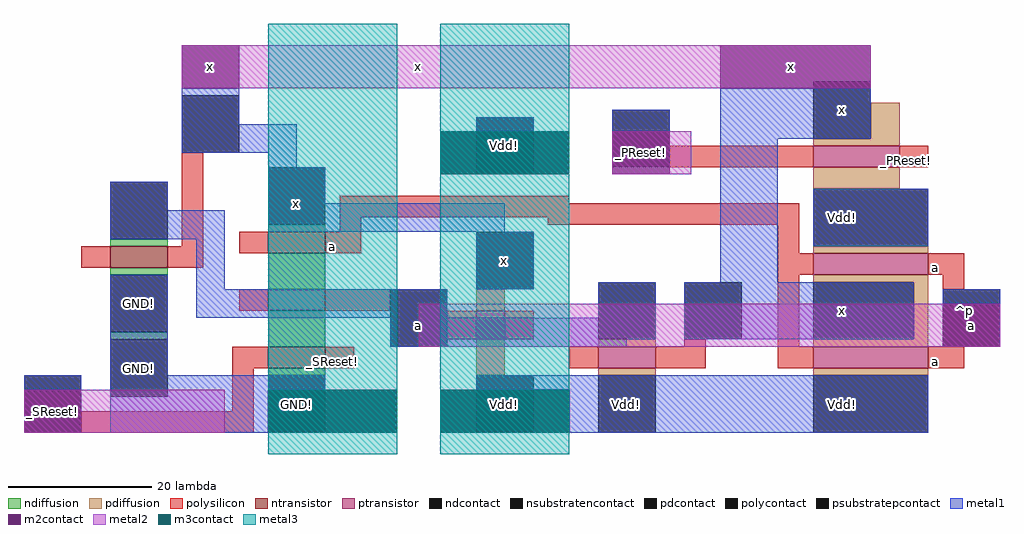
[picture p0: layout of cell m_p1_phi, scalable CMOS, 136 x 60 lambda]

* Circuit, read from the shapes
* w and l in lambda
.subckt m_p1_phi GND! Vdd! _PReset! _SReset! a x
M1 n1 x GND! GND! nfet w=8 l=3
M2 n2 _SReset! GND! GND! nfet w=8 l=3
M3 n3 n1 n2 GND! nfet w=8 l=3
M4 x a n3 GND! nfet w=8 l=3
M5 x n1 Vdd! Vdd! pfet w=4 l=4
M6 n1 x Vdd! Vdd! pfet w=8 l=3
M7 x a Vdd! Vdd! pfet w=16 l=3 m=2
M8 x _PReset! Vdd! Vdd! pfet w=12 l=3
.ends

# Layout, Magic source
magic
tech scmos
<< ndiffusion >>
rect -43 50 -35 51
rect -21 52 -13 53
rect -43 46 -35 47
rect -21 44 -13 49
rect -43 37 -35 38
rect -21 36 -13 41
rect -21 32 -13 33
<< pdiffusion >>
rect 63 65 67 70
rect 55 64 67 65
rect 55 58 67 61
rect 55 49 71 50
rect 8 41 12 44
rect 8 32 12 37
rect 25 36 33 37
rect 55 45 71 46
rect 69 37 71 45
rect 55 36 71 37
rect 25 32 33 33
rect 55 32 71 33
<< ntransistor >>
rect -43 47 -35 50
rect -21 49 -13 52
rect -21 41 -13 44
rect -21 33 -13 36
<< ptransistor >>
rect 55 61 67 64
rect 55 46 71 49
rect 8 37 12 41
rect 25 33 33 36
rect 55 33 71 36
<< polysilicon >>
rect -33 50 -30 63
rect 35 61 55 64
rect 67 61 71 64
rect -11 56 21 57
rect -11 54 53 56
rect -11 52 -8 54
rect 18 53 53 54
rect -47 47 -43 50
rect -35 47 -30 50
rect -25 49 -21 52
rect -13 49 -8 52
rect 50 49 53 53
rect 50 46 55 49
rect 71 46 76 49
rect -25 41 -21 44
rect -13 41 -4 44
rect 4 37 8 41
rect 12 37 16 41
rect -26 33 -21 36
rect -13 33 -9 36
rect -26 27 -23 33
rect -47 24 -23 27
rect 37 36 40 37
rect 21 33 25 36
rect 33 33 40 36
rect 50 36 53 46
rect 73 44 76 46
rect 50 33 55 36
rect 71 33 76 36
<< ndcontact >>
rect -43 51 -35 59
rect -21 53 -13 61
rect -43 38 -35 46
rect -21 24 -13 32
<< pdcontact >>
rect 55 65 63 73
rect 8 44 16 52
rect 55 50 71 58
rect 25 37 33 45
rect 55 37 69 45
rect 8 24 16 32
rect 25 24 33 32
rect 55 24 71 32
<< psubstratepcontact >>
rect -43 29 -35 37
<< nsubstratencontact >>
rect 8 60 16 68
<< polycontact >>
rect -33 63 -25 71
rect 27 61 35 69
rect -55 24 -47 32
rect -4 36 4 44
rect 37 37 45 45
rect 73 36 81 44
<< metal1 >>
rect -33 67 -25 72
rect -33 63 -17 67
rect 8 66 16 68
rect 27 66 35 69
rect -21 61 -17 63
rect -43 55 -35 59
rect -21 56 -13 61
rect 42 65 63 72
rect -43 51 -27 55
rect -21 52 12 56
rect -43 32 -35 46
rect -31 44 -27 51
rect 8 44 16 52
rect 42 45 50 65
rect 55 50 71 58
rect -31 40 4 44
rect 25 40 33 45
rect -4 37 33 40
rect 37 37 69 45
rect 73 42 81 44
rect -4 36 29 37
rect -55 30 -47 32
rect -43 30 -13 32
rect 8 30 71 32
rect -43 24 -21 30
rect 21 24 71 30
<< m2contact >>
rect -33 72 -25 78
rect 42 72 63 78
rect 3 60 21 66
rect 27 60 35 66
rect 73 36 81 42
rect -55 24 -47 30
rect -21 24 -3 30
rect 3 24 21 30
<< metal2 >>
rect -33 72 63 78
rect 27 60 38 66
rect 0 36 81 42
rect -55 24 -27 30
<< m3contact >>
rect 3 60 21 66
rect -21 24 -3 30
rect 3 24 21 30
<< metal3 >>
rect -21 21 -3 81
rect 3 21 21 81
<< labels >>
rlabel pdcontact 29 28 29 28 1 Vdd!
rlabel m2contact 12 28 12 28 1 Vdd!
rlabel m2contact -17 28 -17 28 1 GND!
rlabel polysilicon -12 50 -12 50 1 a
rlabel polysilicon -12 34 -12 34 1 _SReset!
rlabel metal1 59 54 59 54 5 Vdd!
rlabel metal1 59 28 59 28 1 Vdd!
rlabel metal1 59 41 59 41 1 x
rlabel metal1 12 48 12 48 1 x
rlabel polysilicon 72 47 72 47 1 a
rlabel polysilicon 72 34 72 34 1 a
rlabel metal1 59 69 59 69 5 x
rlabel polysilicon 68 62 68 62 7 _PReset!
rlabel metal1 -17 56 -17 56 1 x
rlabel metal2 0 72 0 78 1 x
rlabel nsubstratencontact 12 64 12 64 1 Vdd!
rlabel ndcontact -39 42 -39 42 1 GND!
rlabel metal1 -39 33 -39 33 1 GND!
rlabel metal2 -51 27 -51 27 3 _SReset!
rlabel metal2 0 36 0 42 3 a
rlabel metal2 31 63 31 63 1 _PReset!
rlabel space 70 23 82 59 3 ^p
rlabel metal2 -29 75 -29 75 1 x
rlabel metal2 52 75 52 75 1 x
rlabel metal2 77 39 77 39 7 a
<< end >>
